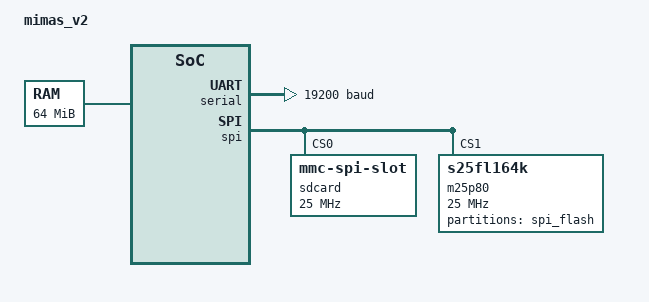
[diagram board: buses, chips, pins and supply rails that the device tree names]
/dts-v1/;

/ {
	model = "mimas_v2";
	compatible = "jcore,j2-soc";
	#address-cells = <1>;
	#size-cells = <1>;
	interrupt-parent = <&aic>;

	chosen {
		stdout-path = "/soc@abcd0000/serial";
	};

	cpus {
		#address-cells = <1>;
		#size-cells = <0>;


		cpu@0 {
			device_type = "cpu";
			compatible = "jcore,j2";
			clock-frequency = <50000000>;
			reg = <0>;
		};
	};

	clocks {

		bus_clock: bus_clock {
			compatible = "fixed-clock";
			#clock-cells = <0>;
			clock-frequency = <50000000>;
		};
	};

	memory@10000000 {
		device_type = "memory";
		reg = <0x10000000 0x4000000>;
	};

	soc@abcd0000 {
		compatible = "simple-bus";
		ranges = <0x0 0xabcd0000 0x240>;
		#address-cells = <1>;
		#size-cells = <1>;

		timer {
			compatible = "jcore,pit";
			reg = <0x200 0x30>;
			interrupts = <0x10>;
		};

		aic: interrupt-controller {
			#interrupt-cells = <1>;
			compatible = "jcore,aic1";
			interrupt-controller;
			reg = <0x200 0x40>; // ABCD0200-ABCD023F
		};

		cache-controller {
			compatible = "jcore,cache";
			cpu-offset = <4>;
			reg = <0xc0 0x40>; // ABCD00C0-ABCD00FF
		};

		gpio {
			#gpio-cells = <2>;
			compatible = "jcore,gpio1";
			gpio-controller;
			reg = <0x0 0x10>; // ABCD0000-ABCD000F
			interrupts = <0x15>;
		};

		serial {
			compatible = "jcore,uartlite", "xlnx,xps-uartlite-1.00.a";
			current-speed = <19200>;
			device_type = "serial";
			port-number = <0>;
			reg = <0x100 0x10>; // ABCD0100-ABCD010F
			interrupts = <0x12>;
		};

		spi {
			#address-cells = <1>;
			#size-cells = <0>;
			clock-names = "ref_clk";
			clocks = <&bus_clock>;
			compatible = "jcore,spi2";
			spi-max-frequency = <25000000>;
			status = "ok";
			reg = <0x40 0x8>; // ABCD0040-ABCD0047

			sdcard@0 {
				compatible = "mmc-spi-slot";
				reg = <0>;
				spi-max-frequency = <25000000>;
				voltage-ranges = <3200 3400>;
				mode = <0>;
			};

			m25p80@1 {
				compatible = "s25fl164k", "jedec,spi-nor";
				#address-cells = <1>;
				#size-cells = <1>;
				spi-max-frequency = <25000000>;
				reg = <1>;
				mode = <0>;
				m25p,fast-read;

				partition@0 {
					label = "spi_flash";
					reg = <0 0>;
				};
			};
		};
	};

	cpuid {
		compatible = "jcore,cpuid-mmio";
		reg = <0xabcd0600 0x4>;
	};
};
